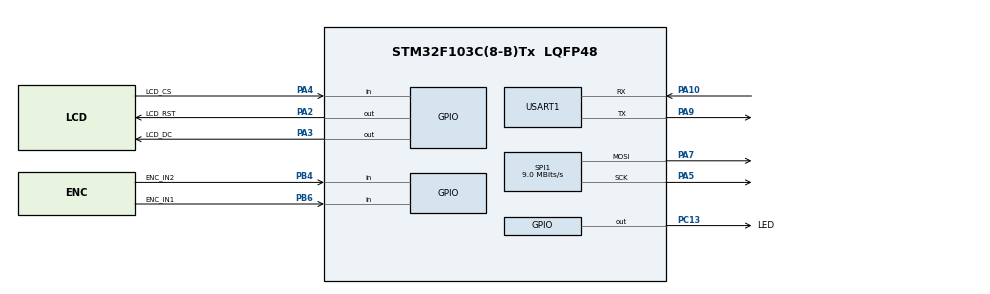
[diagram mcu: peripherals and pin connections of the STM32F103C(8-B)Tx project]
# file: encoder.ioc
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Mcu.Family=STM32F1
Mcu.Name=STM32F103C(8-B)Tx
Mcu.Package=LQFP48
NVIC.PriorityGroup=NVIC_PRIORITYGROUP_4
PA10.Mode=Asynchronous
PA10.Signal=USART1_RX
PA13.Mode=Serial_Wire
PA13.Signal=SYS_JTMS-SWDIO
PA14.Mode=Serial_Wire
PA14.Signal=SYS_JTCK-SWCLK
PA2.GPIO_Label=LCD_RST
PA2.Signal=GPIO_Output
PA3.GPIO_Label=LCD_DC
PA3.Signal=GPIO_Output
PA4.GPIO_Label=LCD_CS
PA4.Signal=GPIO_Input
PA5.Mode=TX_Only_Simplex_Unidirect_Master
PA5.Signal=SPI1_SCK
PA7.Mode=TX_Only_Simplex_Unidirect_Master
PA7.Signal=SPI1_MOSI
PA9.Mode=Asynchronous
PA9.Signal=USART1_TX
PB4.GPIO_Label=ENC_IN2
PB4.GPIO_PuPd=GPIO_PULLUP
PB4.Signal=GPIO_Input
PB6.GPIO_Label=ENC_IN1
PB6.GPIO_PuPd=GPIO_PULLUP
PB6.Signal=GPIO_Input
PC13-TAMPER-RTC.GPIO_Label=LED
PC13-TAMPER-RTC.Signal=GPIO_Output
PD0-OSC_IN.Mode=HSE-External-Oscillator
PD0-OSC_IN.Signal=RCC_OSC_IN
PD1-OSC_OUT.Mode=HSE-External-Oscillator
PD1-OSC_OUT.Signal=RCC_OSC_OUT
ProjectManager.HeapSize=0x200
ProjectManager.StackSize=0x400
ProjectManager.TargetToolchain=Makefile
RCC.AHBFreq_Value=72000000
RCC.APB1CLKDivider=RCC_HCLK_DIV2
RCC.APB1Freq_Value=36000000
RCC.APB1TimFreq_Value=72000000
RCC.APB2Freq_Value=72000000
RCC.APB2TimFreq_Value=72000000
RCC.HCLKFreq_Value=72000000
RCC.PLLMUL=RCC_PLL_MUL9
RCC.PLLSourceVirtual=RCC_PLLSOURCE_HSE
RCC.SYSCLKFreq_VALUE=72000000
RCC.SYSCLKSource=RCC_SYSCLKSOURCE_PLLCLK
RCC.USBFreq_Value=72000000
SPI1.BaudRatePrescaler=SPI_BAUDRATEPRESCALER_8
SPI1.CalculateBaudRate=9.0 MBits/s
SPI1.Direction=SPI_DIRECTION_2LINES
SPI1.Mode=SPI_MODE_MASTER
SPI1.VirtualType=VM_MASTER
TIM4.Period=1000
TIM4.Prescaler=71
USART1.VirtualMode=VM_ASYNC
VP_TIM4_VS_ClockSourceINT.Mode=Internal
board=custom

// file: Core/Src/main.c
/* USER CODE BEGIN Header */
/**
  ******************************************************************************
  * @file           : main.c
  * @brief          : Main program body
  ******************************************************************************
  * @attention
  *
  * Copyright (c) 2025 STMicroelectronics.
  * All rights reserved.
  *
  * This software is licensed under terms that can be found in the LICENSE file
  * in the root directory of this software component.
  * If no LICENSE file comes with this software, it is provided AS-IS.
  *
  ******************************************************************************
  */
/* USER CODE END Header */
#include "main.h"
#include "spi.h"
#include "tim.h"
#include "usart.h"
#include "gpio.h"

/* USER CODE BEGIN Includes */
#include "usart.h"
#include "OLED.h"
#include "typedef.h"
#include <stdio.h>
/* USER CODE END Includes */

/* USER CODE BEGIN PD */
#define MAX_CNT_TIMEOUT   15
/* USER CODE END PD */

/* USER CODE BEGIN PV */
uint8_t val_old=0, val_new =0;
char lcd_buf[25];
int32_t enc_count = 0; //счётчик щелчков энкодера
uint8_t flag_dir = 0, flag_rev = 0; //флаг направления поворота
uint8_t state_machine = SM_WAIT; //стадия конечного автомата
uint8_t flag_end_delay = 0; //флаг окончания таймаута
uint32_t ms_delay = 10; //продолжительность таймаута
uint8_t cnt_timeout = 0; //количество таймаутов ожидания изменения показаний энкодера
/* USER CODE END PV */

void SystemClock_Config(void);

int main(void)
{

  /* MCU Configuration--------------------------------------------------------*/

  /* Reset of all peripherals, Initializes the Flash interface and the Systick. */
  LL_APB2_GRP1_EnableClock(LL_APB2_GRP1_PERIPH_AFIO);
  LL_APB1_GRP1_EnableClock(LL_APB1_GRP1_PERIPH_PWR);

  /* System interrupt init*/
  NVIC_SetPriorityGrouping(NVIC_PRIORITYGROUP_4);

  /* SysTick_IRQn interrupt configuration */
  NVIC_SetPriority(SysTick_IRQn, NVIC_EncodePriority(NVIC_GetPriorityGrouping(),15, 0));

  /** NOJTAG: JTAG-DP Disabled and SW-DP Enabled
  */
  LL_GPIO_AF_Remap_SWJ_NOJTAG();

  /* Configure the system clock */
  SystemClock_Config();

  /* Initialize all configured peripherals */
  MX_GPIO_Init();
  MX_SPI1_Init();
  MX_TIM4_Init();
  MX_USART1_UART_Init();
  /* USER CODE BEGIN 2 */
	OLED_init();
	delay_us (10000);

	FontSet(Segoe_UI_Eng_12);
  snprintf(lcd_buf, 20,"enc_count=%ld", enc_count);
  OLED_DrawStr(lcd_buf, 5, 5);	//
	OLED_UpdateScreen();

  TIM_MS_DELAY_Init();
  /* USER CODE END 2 */

  /* Infinite loop */
  /* USER CODE BEGIN WHILE */
  while (1)
  {
    for (uint32_t count = 0; count < 500000; count++)
    {
      {
        val_new = read_gray_code_from_encoder(); //чтение данных энкодера

        switch (state_machine) //проверка номера стадии конечного автомата
        {
          case SM_WAIT: //стадия ожидания поворота энкодера
            if (flag_end_delay == 0) //если таймаут истёк
            {
              if (val_new != val_old) //если показания энкодера изменились
	            {
                if (val_new == PULSE_STATE_FIRST_REV)
                {
                  state_machine = SM_FIRST; //переход на следующую стадию автомата
                  flag_rev = 1; //флаг реверсного поворота энкодера
                    #ifdef __USE_DBG
		                  sprintf (DBG_buffer,  "1WAIT,flag_rev=%u\r\n", val_new);
		                  DBG_PutString(DBG_buffer);
	                  #endif
                }
                else
                {
                  if (val_new == PULSE_STATE_FIRST_DIR)
                  {
                    state_machine = SM_FIRST; //переход на следующую стадию автомата
                    flag_dir = 1; //флаг прямого поворота энкодера
                    #ifdef __USE_DBG
		                  sprintf (DBG_buffer,  "1WAIT,flag_dir=%u\r\n", val_new);
		                  DBG_PutString(DBG_buffer);
	                  #endif
                  }
                  else
                  {
                    #ifdef __USE_DBG
                    	sprintf (DBG_buffer,  "1RESET,new=%u,old=%u\r\n",  val_new, val_old);
		                  DBG_PutString(DBG_buffer);
	                  #endif
                    flag_rev = flag_dir = 0; //сброс флагов поворота энкодера
                    state_machine = SM_RESET;  //переход в начальную стадию конечного автомата
                  }
                }
                cnt_timeout = 0; //сброс счётчика таймаутов
                val_old = val_new; //сохранение текущего показания энкодера
                delay_ms (ms_delay); //начало таймаута
              }
            }
            break;

         case SM_FIRST: //стадия средней части импульса энкодера
            if (flag_end_delay == 0) //если таймаут истёк
            {
              if (val_new == val_old)
	            {
                cnt_timeout++;
                if (cnt_timeout>MAX_CNT_TIMEOUT)
                {
                  cnt_timeout = 0;  //сброс счётчика таймаутов
                  flag_rev = flag_dir = 0; //сброс флагов поворота энкодера
                  state_machine = SM_RESET;
                }
                else
                {
                  delay_ms (ms_delay); //ожидание изменений показаний энкодера
                }
              }
              else
              {
                #ifdef __USE_DBG
                  sprintf (DBG_buffer,  "2FIRST,val_new=%u\r\n",  val_new);
		              DBG_PutString(DBG_buffer);
	              #endif
                cnt_timeout = 0; //сброс счётчика таймаутов
                val_old = val_new; //сохранение текущего показания энкодера
                if (val_new == PULSE_STATE_SECOND)
                {
                  state_machine = SM_NULL; //переход на следующую стадию автомата
                }
                else
                {
                  flag_rev = flag_dir = 0;
                  state_machine = SM_RESET;
                }
                delay_ms (ms_delay);
              }
            }
            break;

          case SM_NULL: //стадия последней части импульса энкодера
            if (flag_end_delay == 0) //если таймаут истёк
            {
              if (val_new == val_old) //если показания энкодера не изменилось
	            {
                if (cnt_timeout > MAX_CNT_TIMEOUT) //если количество таймаутов ожидания изменения показаний энкодера превышено
                {
                  cnt_timeout = 0;  //сброс счётчика таймаутов
                  flag_rev = flag_dir = 0; //сброс флагов поворота энкодера
                  state_machine = SM_RESET; //переход в начальную стадию конечного автомата
                }
                else
                {
                  delay_ms (ms_delay); //начало таймаута ожидания изменений показаний энкодера
                }
              }
              else
              {
                #ifdef __USE_DBG
                  sprintf (DBG_buffer,  "3NULL,val_new=%u\r\n",  val_new);
		              DBG_PutString(DBG_buffer);
	              #endif

                if (val_new ==  PULSE_STATE_LAST_REV)
                {
                  if (flag_rev == 1) //если установлен флаг реверсного поворота энкодера
                  {
                    state_machine = SM_LAST;  //переход на следующую стадию автомата
                    delay_ms (ms_delay); //начало таймаута
                  }
                }
                else
                {
                  if (val_new == PULSE_STATE_LAST_DIR)
                  {
                    if (flag_dir == 1) //если установлен флаг прямого поворота энкодера
                    {
                      state_machine = SM_LAST;  //переход на следующую стадию автомата
                      delay_ms (ms_delay); //начало таймаута
                    }
                  }
                  else
                 {
                    flag_rev = flag_dir = 0; //сброс флагов поворота энкодера
                    state_machine = SM_RESET;  //переход в начальную стадию конечного автомата
                  }
                }
                val_old = val_new; //сохранение текущего показания энкодера
                cnt_timeout = 0; //сброс счётчика таймаутов
              }
            }
            break;

          case  SM_LAST: //проверка стадии импульса энкодера по умолчанию
            if (flag_end_delay == 0) //если таймаут истёк
            {
              if (val_new == val_old) //если показания энкодера не изменилось
	            {
                if (cnt_timeout > MAX_CNT_TIMEOUT) //если количество таймаутов ожидания изменения показаний энкодера превышено
                {
                  cnt_timeout = 0;  //сброс счётчика таймаутов
                  flag_rev = flag_dir = 0;
                  state_machine = SM_RESET; //переход к начальной стадии конечного автомата
                }
                else
                {
                  delay_ms (ms_delay); //таймаут ожидания изменений показаний энкодера
                }
              }
              else
              {
                #ifdef __USE_DBG
                  sprintf (DBG_buffer,  " 4LAST,val_new=%u\r\n",  val_new);
		              DBG_PutString(DBG_buffer);
	              #endif
                if (flag_rev == 1) //если установлен флаг реверсного поворота энкодера
                {
                  enc_count--;
                  OLED_Clear(NONE_INVERTED);
                  snprintf(lcd_buf, 25,"-cnt=%ld, %x, %x, %x", enc_count, val_new, val_old, val_old | val_new);
                  OLED_DrawStr(lcd_buf, 15, 25);
                  OLED_UpdateScreen();
                }
                else
                {
                  if (flag_dir == 1) //если установлен флаг прямого поворота энкодера
                  {
                    enc_count++;
                    OLED_Clear(NONE_INVERTED);
                    snprintf(lcd_buf, 25,"+cnt=%ld, %x, %x, %x", enc_count, val_new, val_old, val_old | val_new);
                    OLED_DrawStr(lcd_buf, 15, 25);
                    OLED_UpdateScreen();
                  }
                }
                flag_rev = flag_dir = 0; //сброс флагов поворота энкодера
                val_old = val_new; //сохранение текущего показания энкодера
                cnt_timeout = 0; //сброс счётчика таймаутов
                state_machine = SM_WAIT; //переход к начальной стадии конечного автомата
              }
            }
            break;

          case  SM_RESET: //проверка стадии импульса энкодера по умолчанию
            if (flag_end_delay == 0) //если таймаут истёк
            {
              if (val_new != val_old) //если показания энкодера изменились
              {
                if (val_new == PULSE_STATE_DEFAULT) //если энкодер в состоянии по умолчанию (поворот закончен)
	              {
                  state_machine = SM_WAIT; //переход к начальной стадии конечного автомата
                  #ifdef __USE_DBG
                    sprintf (DBG_buffer,  "END_RESET,new=%u,old=%u\r\n",  val_new, val_old);
		                DBG_PutString(DBG_buffer);
	                #endif
                }
                else
                {
                  #ifdef __USE_DBG
                    sprintf (DBG_buffer,  "CONT_RESET,new=%u,old=%u\r\n",  val_new, val_old);
		                DBG_PutString(DBG_buffer);
	                #endif
                }
                val_old = val_new; //сохранение текущего показания энкодера
              }
              delay_ms (ms_delay); //начало таймаута
            }
            break;

          default:
            break;
        }
      }
    }
    TOOGLE_LED_RED();
    /* USER CODE END WHILE */

  }
}

void SystemClock_Config(void)
{
  LL_FLASH_SetLatency(LL_FLASH_LATENCY_2);
  while(LL_FLASH_GetLatency()!= LL_FLASH_LATENCY_2)
  {
  }
  LL_RCC_HSE_Enable();

   /* Wait till HSE is ready */
  while(LL_RCC_HSE_IsReady() != 1)
  {

  }
  LL_RCC_PLL_ConfigDomain_SYS(LL_RCC_PLLSOURCE_HSE_DIV_1, LL_RCC_PLL_MUL_9);
  LL_RCC_PLL_Enable();

   /* Wait till PLL is ready */
  while(LL_RCC_PLL_IsReady() != 1)
  {

  }
  LL_RCC_SetAHBPrescaler(LL_RCC_SYSCLK_DIV_1);
  LL_RCC_SetAPB1Prescaler(LL_RCC_APB1_DIV_2);
  LL_RCC_SetAPB2Prescaler(LL_RCC_APB2_DIV_1);
  LL_RCC_SetSysClkSource(LL_RCC_SYS_CLKSOURCE_PLL);

   /* Wait till System clock is ready */
  while(LL_RCC_GetSysClkSource() != LL_RCC_SYS_CLKSOURCE_STATUS_PLL)
  {

  }
  LL_Init1msTick(72000000);
  LL_SetSystemCoreClock(72000000);
}

/* USER CODE BEGIN 4 */
 void TIM_DELAY_MS_Callback (void)
 {
    flag_end_delay = 0;
 }
/* USER CODE END 4 */

void Error_Handler(void)
{
  __disable_irq();
  while (1)
  {
  }
}
